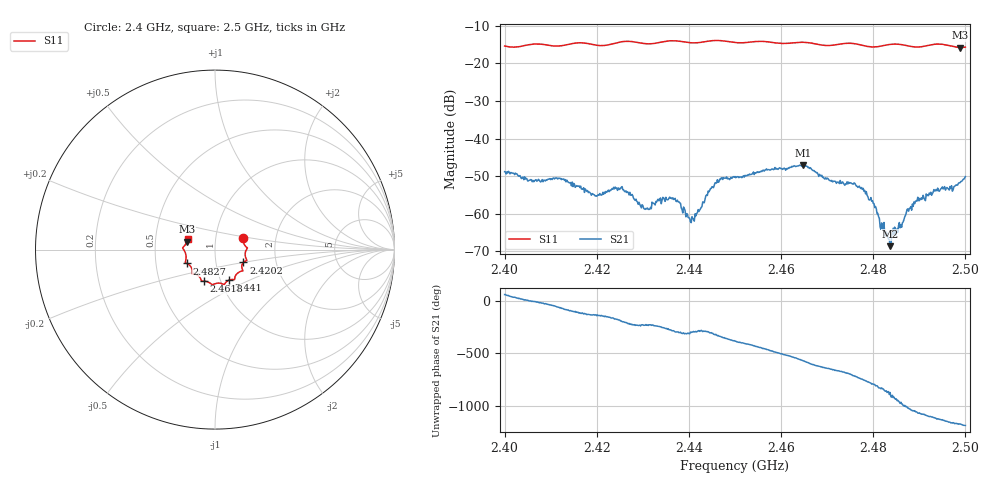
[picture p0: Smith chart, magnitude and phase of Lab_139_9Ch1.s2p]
# Hz S RI R 50
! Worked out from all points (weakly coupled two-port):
!   601 points, 2.4 GHz to 2.5 GHz, reference 50 ohm
!   highest |S21| = -47.05 dB at 2.4648 GHz (marker M1); lowest = -68.6 dB at 2.4837 GHz (marker M2)
!   lowest |S11| = -15.8 dB at 2.4988 GHz (marker M3), VSWR 1.39, Z = 36.4 + j3.33 ohm
!   |S11| at or under -10 dB: start of sweep to end of sweep
!   S12 and S22 are empty: the file has one direction only
!   S11 on the Smith chart (normalised r, x): 2.4 GHz: 1.36, +0.17; 2.4202 GHz: 1.36, -0.20; 2.441 GHz: 1.10, -0.39; 2.4618 GHz: 0.84, -0.30; 2.4827 GHz: 0.72, -0.12; 2.5 GHz: 0.73, +0.09
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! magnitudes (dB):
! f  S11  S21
! 2.4 GHz  -15.4  -48.8
! 2.4123 GHz  -15.3  -50.9
! 2.4167 GHz  -14.6  -53.4
! 2.4202 GHz  -15.2  -55.1
! 2.4252 GHz  -14.3  -53.3
! 2.431 GHz  -14.8  -58.5
! 2.4333 GHz  -14.5  -56.1
! 2.437 GHz  -14.0  -55.9
! 2.441 GHz  -14.6  -61.4
! 2.4462 GHz  -13.9  -50.9
! 2.45 GHz  -14.5  -50.1
! 2.4618 GHz  -14.6  -47.6
! 2.4648 GHz  -14.4  -47.0
! 2.4667 GHz  -14.6  -48.3
! 2.478 GHz  -15.3  -54.0
! 2.48 GHz  -15.6  -57.2
! 2.4827 GHz  -15.2  -65.9
! 2.4833 GHz  -15.0  -66.7
! 2.4837 GHz  -15.0  -68.6
! 2.4893 GHz  -15.7  -56.6
! 2.4988 GHz  -15.8  -51.7
! 2.5 GHz  -15.7  -50.1
